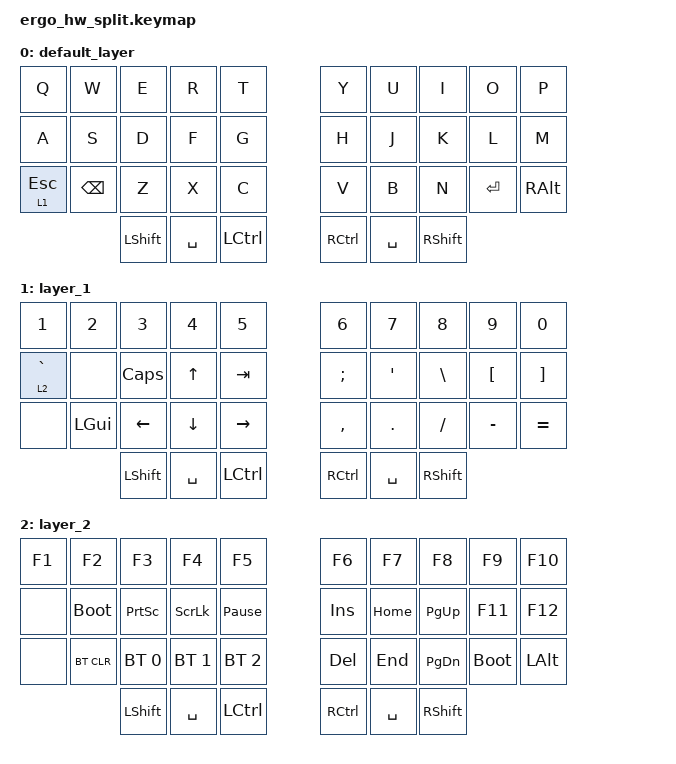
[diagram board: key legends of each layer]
#include <behaviors.dtsi>
#include <dt-bindings/zmk/keys.h>
#include <dt-bindings/zmk/bt.h>

/ {
    keymap {
        compatible = "zmk,keymap";

        default_layer {
            // -----------------------------------------------------------------------------------------
            // |  Q  |  W  |  E  |  R  |  T  |   |  Y  |  U   |  I  |  O  |  P  |
            // |  A  |  S  |  D  |  F  |  G  |   |  H  |  J   |  K  |  L  |  M  |
            // | L1(ESC) | BSPC |  Z  |  X  |  C  |   |  V  |  B   |  N  | ENT | RALT|
            //             | SFT | SPC | CTL |   | CTL | SPC  | SFT |
            // -----------------------------------------------------------------------------------------
            bindings = <
&kp Q          &kp W    &kp E    &kp R     &kp T        &kp Y     &kp U     &kp I     &kp O     &kp P
&kp A          &kp S    &kp D    &kp F     &kp G        &kp H     &kp J     &kp K     &kp L     &kp M
&lt 1 ESC      &kp BSPC &kp Z    &kp X     &kp C        &kp V     &kp B     &kp N     &kp RET   &kp RALT
                                 &kp LSHFT &kp SPACE    &kp LCTRL &kp RCTRL &kp SPACE &kp RSHFT
            >;
        };

        layer_1 {
            // -----------------------------------------------------------------------------------------
            // |  1  |  2  |  3  |  4  |  5  |   |  6  |  7  |  8  |  9  |  0  |
            // | L2(GRV) | NO  | CAPS|  UP | TAB |   |  ;  |  '  |  \  |  [  |  ]  |
            // |  NO | GUI | LFT | DWN | RGT |   |  ,  |  .  |  /  |  -  |  =  |
            //             | SFT | SPC | CTL |   | CTL | SPC | SFT |
            // -----------------------------------------------------------------------------------------
            bindings = <
&kp N1         &kp N2   &kp N3   &kp N4    &kp N5       &kp N6    &kp N7    &kp N8    &kp N9    &kp N0
&lt 2 GRAVE    &none    &kp CAPS &kp UP    &kp TAB      &kp SEMI  &kp SQT   &kp BSLH  &kp LBKT  &kp RBKT
&none          &kp LGUI &kp LEFT &kp DOWN  &kp RIGHT    &kp COMMA &kp DOT   &kp FSLH  &kp MINUS &kp EQUAL
                                 &kp LSHFT &kp SPACE    &kp LCTRL &kp RCTRL &kp SPACE &kp RSHFT
            >;
        };

        layer_2 {
            // -----------------------------------------------------------------------------------------
            // |  F1 |  F2 |  F3 |  F4 |  F5 |   |  F6 |  F7 |  F8 |  F9 | F10 |
            // |  NO |  NO | PRT | SLCK| PAUS|   | INS | HOME| PGUP| F11 | F12 |
            // | BOOT|BTCLR| BT1 | BT2 | BT3 |   | DEL | END | PGDN| BOOT| LALT|
            //             | SFT | SPC | CTL |   | CTL | SPC | SFT |
            // -----------------------------------------------------------------------------------------
            bindings = <
&kp F1         &kp F2       &kp F3       &kp F4       &kp F5             &kp F6    &kp F7    &kp F8    &kp F9      &kp F10
&none          &bootloader  &kp PSCRN    &kp SLCK     &kp PAUSE_BREAK    &kp INS   &kp HOME  &kp PG_UP &kp F11     &kp F12
&none          &bt BT_CLR   &bt BT_SEL 0 &bt BT_SEL 1 &bt BT_SEL 2       &kp DEL   &kp END   &kp PG_DN &bootloader &kp LALT
                                         &kp LSHFT    &kp SPACE          &kp LCTRL &kp RCTRL &kp SPACE &kp RSHFT
            >;
        };
    };
};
